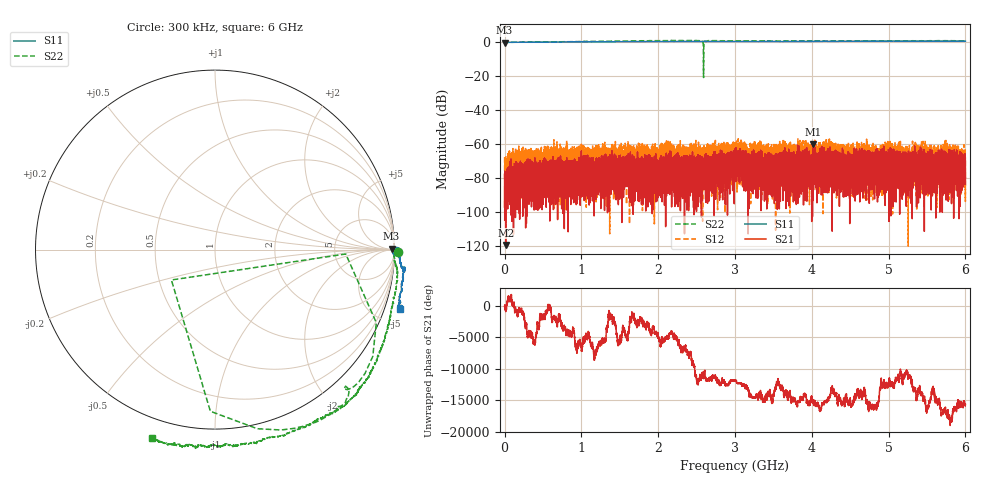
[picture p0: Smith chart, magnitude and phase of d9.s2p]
!Agilent Technologies,N5230C,SG49000117,A.08.50.07
!Agilent N5230C: A.08.50.07
!Date: Thursday, May 16, 2024 19:26:36
!Correction: S11(Full 2 Port(1,2))
!S21(Full 2 Port(1,2))
!S12(Full 2 Port(1,2))
!S22(Full 2 Port(1,2))
!S2P File: Measurements: S11, S21, S12, S22:
# Hz S  MA  R 50
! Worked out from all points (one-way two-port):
!   20001 points, 300 kHz to 6 GHz, reference 50 ohm
!   highest |S21| = -59.95 dB at 4.019 GHz (marker M1); lowest = -119.2 dB at 14.4 MHz (marker M2)
!   lowest |S11| = -0.1 dB at 600 kHz (marker M3), VSWR 119.95, Z = 5.5e+03 + j1.66e+03 ohm
!   |S11| at or under -10 dB: nowhere
!   |S22| runs from -20.7 to 1.1 dB; largest |S21 - S12| = 0.002
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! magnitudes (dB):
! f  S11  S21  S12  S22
! 300 kHz  0.1  -77.7  -67.5  0.1
! 600 kHz  -0.1  -97.3  -77.8  -0.3
! 14.4 MHz  0.0  -119.2  -88.7  0.0
! 1 GHz  0.2  -82.6  -63.2  0.4
! 2 GHz  0.5  -74.7  -67.7  1.0
! 2.135 GHz  0.5  -79.3  -65.2  1.0
! 2.564 GHz  0.5  -70.1  -67.8  0.9
! 3 GHz  0.5  -76.0  -68.4  0.9
! 3.185 GHz  0.5  -97.7  -64.7  0.8
! 3.333 GHz  0.5  -65.0  -71.4  0.8
! 3.377 GHz  0.5  -71.4  -67.3  0.9
! 3.835 GHz  0.6  -76.9  -63.9  0.8
! 4 GHz  0.5  -74.7  -67.6  0.8
! 4.019 GHz  0.5  -60.0  -61.6  0.8
! 4.809 GHz  0.7  -74.7  -69.1  0.8
! 4.876 GHz  0.7  -76.4  -70.7  0.8
! 5 GHz  0.7  -77.3  -68.2  0.8
! 5.238 GHz  0.7  -80.4  -79.9  0.9
! 5.448 GHz  0.7  -65.2  -66.3  0.9
! 5.6 GHz  0.7  -75.6  -74.3  0.9
! 5.842 GHz  0.7  -73.5  -72.6  0.9
! 6 GHz  0.7  -70.1  -75.4  0.9
